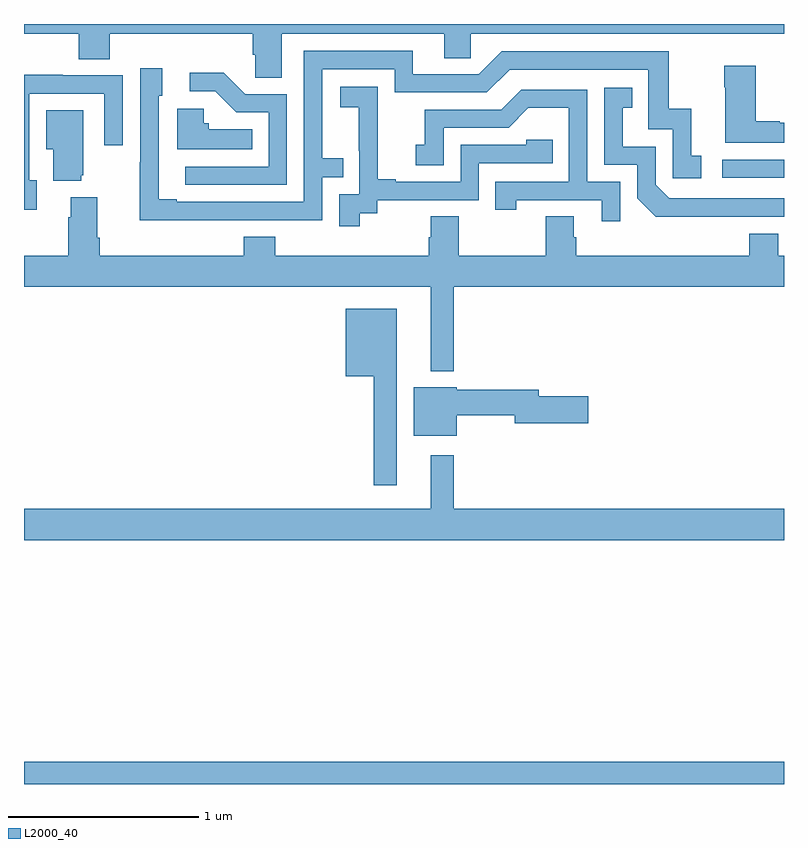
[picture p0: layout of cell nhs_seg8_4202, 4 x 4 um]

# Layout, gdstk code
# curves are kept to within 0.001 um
import gdstk
lib = gdstk.Library(unit=1e-6, precision=1e-09)
def R(c, l, rs):  # rectangles x0, y0, x1, y1
    for r in rs: c.add(gdstk.rectangle(r[:2], r[2:], *l))
def P(c, l, *ps):  # polygons
    for p in ps: c.add(gdstk.Polygon(p, *l))
L2000_40 = (2000, 40)

nhs_seg8_4202 = lib.new_cell('nhs_seg8_4202')
R(nhs_seg8_4202, L2000_40, [(369,1097.9,373,1098.016), (372.675,1101.09,373,1101.186)])
P(nhs_seg8_4202, L2000_40, [(370.357,1101.848),(371.213,1101.848),(371.213,1101.721),(371.352,1101.721),(371.352,1101.848),(373,1101.848),(373,1101.9),(369,1101.9),(369,1101.848),(369.287,1101.848),(369.287,1101.715),(369.452,1101.715),(369.452,1101.848),(370.205,1101.848),(370.205,1101.739),(370.218,1101.739),(370.218,1101.616),(370.357,1101.616)],
  [(370.073,1100.868),(370.569,1100.868),(370.569,1101.093),(370.679,1101.093),(370.679,1101.194),(370.569,1101.194),(370.569,1101.663),(370.95,1101.663),(370.95,1101.54),(371.436,1101.54),(371.556,1101.66),(372.285,1101.66),(372.285,1101.345),(372.414,1101.345),(372.414,1101.087),(372.565,1101.087),(372.565,1101.207),(372.512,1101.207),(372.512,1101.454),(372.394,1101.454),(372.394,1101.756),(371.514,1101.756),(371.394,1101.636),(371.047,1101.636),(371.047,1101.759),(370.473,1101.759),(370.473,1100.964),(369.805,1100.964),(369.805,1100.977),(369.708,1100.977),(369.708,1101.522),(369.727,1101.522),(369.727,1101.667),(369.612,1101.667),(369.612,1101.173),(369.61,1101.173),(369.61,1100.867)],
  [(373,1101.379),(372.977,1101.379),(372.977,1101.389),(372.85,1101.389),(372.85,1101.679),(372.685,1101.679),(372.685,1101.566),(372.692,1101.566),(372.692,1101.275),(373,1101.275)],
  [(370.383,1101.531),(370.164,1101.531),(370.051,1101.644),(369.873,1101.644),(369.873,1101.546),(370.007,1101.546),(370.118,1101.435),(370.287,1101.435),(370.287,1101.15),(369.849,1101.15),(369.849,1101.054),(370.383,1101.054)],
  [(369.067,1101.078),(369.027,1101.078),(369.027,1101.534),(369.423,1101.534),(369.423,1101.261),(369.519,1101.261),(369.519,1101.63),(369.203,1101.63),(369.203,1101.632),(369,1101.632),(369,1100.922),(369.067,1100.922)],
  [(370.768,1100.905),(370.86,1100.905),(370.86,1100.973),(371.394,1100.973),(371.394,1101.168),(371.783,1101.168),(371.783,1101.291),(371.643,1101.291),(371.643,1101.264),(371.298,1101.264),(371.298,1101.069),(370.957,1101.069),(370.957,1101.082),(370.862,1101.082),(370.862,1101.365),(370.863,1101.365),(370.863,1101.571),(370.665,1101.571),(370.665,1101.461),(370.763,1101.461),(370.763,1101.233),(370.764,1101.233),(370.764,1101.003),(370.659,1101.003),(370.659,1100.835),(370.768,1100.835)],
  [(372.734,1100.886),(373,1100.886),(373,1100.982),(372.396,1100.982),(372.324,1101.054),(372.324,1101.255),(372.151,1101.255),(372.151,1101.459),(372.2,1101.459),(372.2,1101.565),(372.054,1101.565),(372.054,1101.159),(372.228,1101.159),(372.228,1100.982),(372.326,1100.885)],
  [(372.138,1101.069),(371.964,1101.069),(371.964,1101.555),(371.618,1101.555),(371.513,1101.45),(371.11,1101.45),(371.11,1101.265),(371.061,1101.265),(371.061,1101.156),(371.208,1101.156),(371.208,1101.354),(371.55,1101.354),(371.654,1101.458),(371.868,1101.458),(371.868,1101.069),(371.479,1101.069),(371.479,1100.922),(371.59,1100.922),(371.59,1100.973),(372.041,1100.973),(372.041,1100.862),(372.138,1100.862)],
  [(370.202,1101.346),(369.972,1101.346),(369.972,1101.378),(369.945,1101.378),(369.945,1101.454),(369.806,1101.454),(369.806,1101.242),(370.202,1101.242)],
  [(369.302,1101.105),(369.313,1101.105),(369.313,1101.445),(369.116,1101.445),(369.116,1101.242),(369.155,1101.242),(369.155,1101.074),(369.302,1101.074)],
  [(371.263,1100.516),(373,1100.516),(373,1100.68),(372.97,1100.68),(372.97,1100.797),(372.818,1100.797),(372.818,1100.68),(371.906,1100.68),(371.906,1100.778),(371.893,1100.778),(371.893,1100.888),(371.746,1100.888),(371.746,1100.68),(371.289,1100.68),(371.289,1100.888),(371.141,1100.888),(371.141,1100.778),(371.129,1100.778),(371.129,1100.68),(370.322,1100.68),(370.322,1100.779),(370.157,1100.779),(370.157,1100.68),(369.398,1100.68),(369.398,1100.776),(369.385,1100.776),(369.385,1100.989),(369.245,1100.989),(369.245,1100.882),(369.233,1100.882),(369.233,1100.68),(369,1100.68),(369,1100.516),(371.141,1100.516),(371.141,1100.072),(371.263,1100.072)],
  [(370.963,1100.401),(370.694,1100.401),(370.694,1100.045),(370.842,1100.045),(370.842,1099.473),(370.963,1099.473)],
  [(371.278,1099.84),(371.582,1099.84),(371.582,1099.798),(371.971,1099.798),(371.971,1099.94),(371.71,1099.94),(371.71,1099.976),(371.278,1099.976),(371.278,1099.987),(371.051,1099.987),(371.051,1099.733),(371.278,1099.733)],
  [(373,1099.348),(371.263,1099.348),(371.263,1099.63),(371.141,1099.63),(371.141,1099.348),(369,1099.348),(369,1099.184),(373,1099.184)])

lib.write_gds('nhs_seg8_4202.gds')
